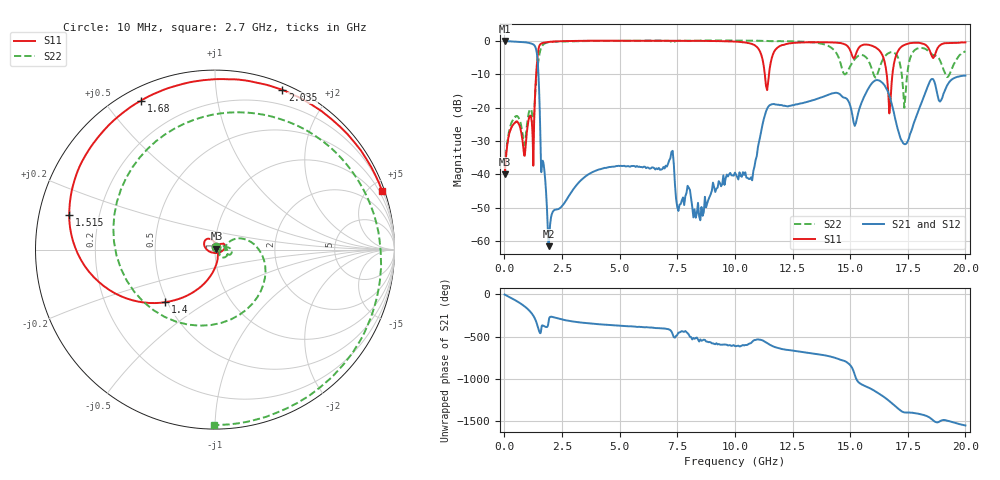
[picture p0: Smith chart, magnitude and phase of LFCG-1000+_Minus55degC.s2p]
! Mini-Circuits
! S2P DATA File Format
! Type: LOW PASS FILTER
! Model: LFCG-1000+
! All S Parameters are in dB deg format
! TEST CONDITIONS: INPUT POWER = 0 dBm @ Temperature = -55deg C
# MHz S dB R 50
!Frequency  S11 dB  S11 DEG  S21 dB  S21 DEG  S12 dB  S12 DEG  S22 dB  S22 DEG
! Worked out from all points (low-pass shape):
!   682 points, 10 MHz to 20 GHz, reference 50 ohm
!   highest |S21| = -0.12 dB at 10 MHz (marker M1); lowest = -61.5 dB at 1.915 GHz (marker M2)
!   |S21| within 3 dB of the highest: start of sweep to 1.393 GHz
!   lowest |S11| = -39.9 dB at 30 MHz (marker M3), VSWR 1.02, Z = 50.8 + j0.585 ohm
!   |S11| at or under -10 dB: start of sweep to 1.379 GHz; 11.3 GHz to 11.48 GHz (183.4 MHz wide, 1.61 % of centre); 16.58 GHz to 16.84 GHz (253.2 MHz wide, 1.52 % of centre)
!   |S22| runs from -39.9 to 0.1 dB; largest |S21 - S12| = 0.0042
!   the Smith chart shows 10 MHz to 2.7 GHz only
!   S11 on the Smith chart (normalised r, x): 10 MHz: 1.01, +0.03; 1.4 GHz: 0.49, -0.34; 1.515 GHz: 0.09, +0.12; 1.68 GHz: 0.05, +0.62; 2.035 GHz: 0.06, +1.51; 2.7 GHz: 0.24, +5.84
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10  -36.05 72.1  -0.12 -1.8  -0.11 -1.9  -36.35 70.8
30  -39.95 34.9  -0.12 -4.5  -0.12 -4.6  -39.94 33.9
590  -24.56 17.3  -0.31 -88.1  -0.31 -88.1  -22.77 -32.0
1015  -25.18 168.9  -0.60 -173.6  -0.60 -173.7  -23.31 11.0
1255  -37.40 12.2  -1.13 108.5  -1.12 108.4  -24.87 -3.2
1400  -7.89 -133.4  -3.38 22.0  -3.37 21.9  -9.90 -29.5
1515  -1.57 166.7  -16.42 -80.3  -16.42 -80.4  -4.32 154.0
1680  -0.66 116.5  -36.18 -9.4  -36.18 -9.4  -1.19 34.1
1915  -0.38 80.2  -61.49 34.3  -61.53 33.8  -0.47 -23.0
2035  -0.30 67.1  -52.56 96.2  -52.52 96.4  -0.37 -39.9
2700  -0.12 19.4  -47.56 52.1  -47.56 51.9  -0.19 -90.4
3350  -0.04 -9.8  -41.59 26.5  -41.60 26.4  -0.12 -114.0
6700  -0.03 -77.2  -38.07 -39.1  -38.08 -39.2  0.01 -169.7
10050  -0.31 -142.6  -40.07 108.0  -40.09 107.5  0.04 139.5
11450  -12.00 -34.6  -19.74 136.8  -19.74 136.5  -0.11 113.5
13350  -0.49 167.4  -17.87 24.0  -17.87 23.8  -0.49 63.2
14600  -0.73 130.3  -16.34 -54.4  -16.33 -54.8  -7.14 -58.0
15500  -1.41 134.0  -18.47 15.6  -18.47 15.2  -4.29 100.9
16700  -21.76 -10.7  -16.43 178.9  -16.41 178.4  -3.62 156.3
17350  -1.30 171.9  -30.96 45.4  -30.95 44.8  -20.09 133.0
19050  -0.85 157.0  -15.89 -44.5  -15.87 -45.2  -8.69 24.9
20000  -0.51 139.7  -10.44 -109.1  -10.42 -109.9  -3.17 179.8
